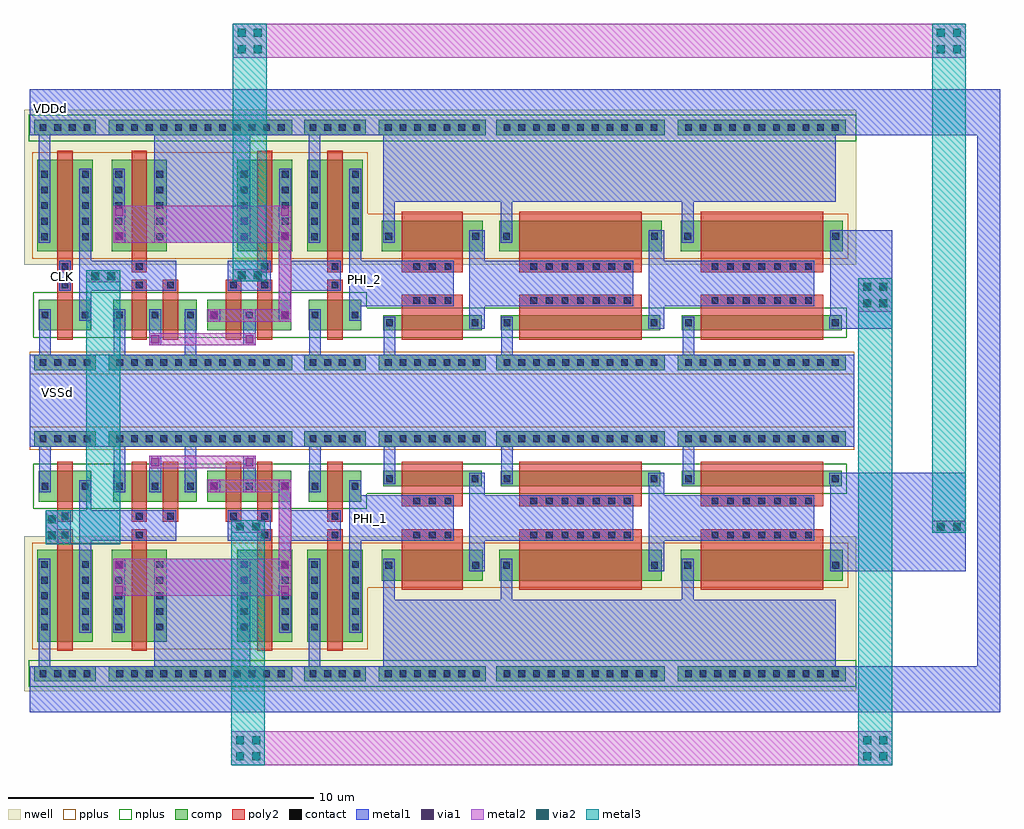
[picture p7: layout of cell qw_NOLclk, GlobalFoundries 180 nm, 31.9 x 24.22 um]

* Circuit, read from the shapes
.subckt qw_NOLclk CLK PHI_1 PHI_2 VDDd VSSd
XM1 n1 n2 VSSd VSSd nfet_03v3 w=1u l=0.5u
XM2 n2 CLK VSSd VSSd nfet_03v3 w=1u l=0.5u
XM3 n3 n1 VSSd VSSd nfet_03v3 w=1u l=0.5u m=2
XM4 n4 n2 VSSd VSSd nfet_03v3 w=1u l=0.5u m=2
XM5 n3 n5 n6 VSSd nfet_03v3 w=1u l=0.5u m=2
XM6 n4 n7 n8 VSSd nfet_03v3 w=1u l=0.5u m=2
XM7 PHI_1 n6 VSSd VSSd nfet_03v3 w=1u l=0.5u
XM8 PHI_2 n8 VSSd VSSd nfet_03v3 w=1u l=0.5u
XM9 n9 PHI_1 VSSd VSSd nfet_03v3 w=0.5u l=2u
XM10 n10 PHI_2 VSSd VSSd nfet_03v3 w=0.5u l=2u
XM11 n11 n9 VSSd VSSd nfet_03v3 w=0.5u l=4u
XM12 n12 n10 VSSd VSSd nfet_03v3 w=0.5u l=4u
XM13 n7 n11 VSSd VSSd nfet_03v3 w=0.5u l=4u
XM14 n5 n12 VSSd VSSd nfet_03v3 w=0.5u l=4u
XM15 n1 n2 VDDd VDDd pfet_03v3 w=3u l=0.5u
XM16 n2 CLK VDDd VDDd pfet_03v3 w=3u l=0.5u
XM17 VDDd n1 n6 VDDd pfet_03v3 w=3u l=0.5u
XM18 VDDd n2 n8 VDDd pfet_03v3 w=3u l=0.5u
XM19 n6 n5 VDDd VDDd pfet_03v3 w=3u l=0.5u
XM20 n8 n7 VDDd VDDd pfet_03v3 w=3u l=0.5u
XM21 PHI_1 n6 VDDd VDDd pfet_03v3 w=3u l=0.5u
XM22 PHI_2 n8 VDDd VDDd pfet_03v3 w=3u l=0.5u
XM23 n9 PHI_1 VDDd VDDd pfet_03v3 w=1u l=2u
XM24 n10 PHI_2 VDDd VDDd pfet_03v3 w=1u l=2u
XM25 n11 n9 VDDd VDDd pfet_03v3 w=1u l=4u
XM26 n12 n10 VDDd VDDd pfet_03v3 w=1u l=4u
XM27 n7 n11 VDDd VDDd pfet_03v3 w=1u l=4u
XM28 n5 n12 VDDd VDDd pfet_03v3 w=1u l=4u
.ends

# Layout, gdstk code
from math import pi, radians
import gdstk
lib = gdstk.Library(unit=1e-6, precision=1e-09)
def R(c, l, rs):  # rectangles x0, y0, x1, y1
    for r in rs: c.add(gdstk.rectangle(r[:2], r[2:], *l))
def A(c, l, x, y, w, h, nx, ny, dx, dy):  # array of equal rectangles
    R(c, l, [(x+i*dx, y+j*dy, x+i*dx+w, y+j*dy+h) for i in range(nx) for j in range(ny)])
nwell = (21, 0)
comp = (22, 0)
poly2 = (30, 0)
pplus = (31, 0)
nplus = (32, 0)
contact = (33, 0)
metal1 = (34, 0)
via1 = (35, 0)
metal2 = (36, 0)
via2 = (38, 0)
metal3 = (42, 0)

via_dev_619 = lib.new_cell('via_dev$619')
R(via_dev_619, metal1, [(0,0,0.4,0.4)])
R(via_dev_619, via1, [(0.07,0.07,0.33,0.33)])
R(via_dev_619, metal2, [(0,0,0.4,0.4)])

via_dev_620 = lib.new_cell('via_dev$620')
R(via_dev_620, comp, [(0,0,2,0.5)])
A(via_dev_620, contact, 0.17, 0.14, 0.22, 0.22, 4, 1, 0.48, 0)
R(via_dev_620, metal1, [(0,0,2,0.5)])

via_dev_621 = lib.new_cell('via_dev$621')
R(via_dev_621, comp, [(0,0,3.5,0.5)])
A(via_dev_621, contact, 0.2, 0.14, 0.22, 0.22, 7, 1, 0.48, 0)
R(via_dev_621, metal1, [(0,0,3.5,0.5)])

nfet_207 = lib.new_cell('nfet$207')
R(nfet_207, comp, [(-0.42,0,0,0.5), (0,0,2.38,0.5), (2.38,0,2.8,0.5)])
R(nfet_207, poly2, [(0.19,-0.3,2.19,0.8), (0.19,0.8,2.19,1.16)])
R(nfet_207, nplus, [(-0.59,-0.24,2.97,0.74)])
A(nfet_207, contact, 0.57, 0.87, 0.22, 0.22, 3, 1, 0.51, 0)
R(nfet_207, contact, [(-0.32,0.14,-0.1,0.36), (2.48,0.14,2.7,0.36)])
R(nfet_207, metal1, [(-0.4,0.06,-0.02,0.44), (2.4,0.06,2.78,0.44), (0.49,0.79,1.89,1.17)])

via_dev_622 = lib.new_cell('via_dev$622')
R(via_dev_622, metal1, [(0,0,1.1,0.4)])
R(via_dev_622, via1, [(0.155,0.07,0.415,0.33), (0.685,0.07,0.945,0.33)])
R(via_dev_622, metal2, [(0,0,1.1,0.4)])
R(via_dev_622, via2, [(0.155,0.07,0.415,0.33), (0.685,0.07,0.945,0.33)])
R(via_dev_622, metal3, [(0,0,1.1,0.4)])

pfet_192 = lib.new_cell('pfet$192')
R(pfet_192, nwell, [(-0.9,-0.44,3.28,1.44)])
R(pfet_192, comp, [(-0.46,0,0,1), (0,0,2.38,1), (2.38,0,2.84,1)])
R(pfet_192, poly2, [(0.19,-0.68,2.19,-0.3), (0.19,-0.3,2.19,1.3)])
R(pfet_192, pplus, [(-0.63,-0.24,3.01,1.24)])
A(pfet_192, contact, 0.57, -0.6, 0.22, 0.22, 3, 1, 0.51, 0)
R(pfet_192, contact, [(-0.34,0.39,-0.12,0.61), (2.5,0.39,2.72,0.61)])
R(pfet_192, metal1, [(0.49,-0.68,1.89,-0.3), (-0.42,0.31,-0.04,0.69), (2.42,0.31,2.8,0.69)])

pfet_193 = lib.new_cell('pfet$193')
R(pfet_193, nwell, [(-0.9,-0.44,5.28,1.44)])
R(pfet_193, comp, [(-0.46,0,0,1), (0,0,4.38,1), (4.38,0,4.84,1)])
R(pfet_193, poly2, [(0.19,-0.68,4.19,-0.3), (0.19,-0.3,4.19,1.3)])
R(pfet_193, pplus, [(-0.63,-0.24,5.01,1.24)])
A(pfet_193, contact, 0.55, -0.6, 0.22, 0.22, 7, 1, 0.51, 0)
R(pfet_193, contact, [(-0.34,0.39,-0.12,0.61), (4.5,0.39,4.72,0.61)])
R(pfet_193, metal1, [(0.47,-0.68,3.91,-0.3), (-0.42,0.31,-0.04,0.69), (4.42,0.31,4.8,0.69)])

nfet_208 = lib.new_cell('nfet$208')
R(nfet_208, comp, [(-0.42,0,0,0.5), (0,0,4.38,0.5), (4.38,0,4.8,0.5)])
R(nfet_208, poly2, [(0.19,-0.3,4.19,0.8), (0.19,0.8,4.19,1.16)])
R(nfet_208, nplus, [(-0.59,-0.24,4.97,0.74)])
A(nfet_208, contact, 0.55, 0.87, 0.22, 0.22, 7, 1, 0.51, 0)
R(nfet_208, contact, [(-0.32,0.14,-0.1,0.36), (4.48,0.14,4.7,0.36)])
R(nfet_208, metal1, [(-0.4,0.06,-0.02,0.44), (4.4,0.06,4.78,0.44), (0.47,0.79,3.91,1.17)])

via_dev_623 = lib.new_cell('via_dev$623')
R(via_dev_623, comp, [(0,0,5.5,0.5)])
A(via_dev_623, contact, 0.24, 0.14, 0.22, 0.22, 11, 1, 0.48, 0)
R(via_dev_623, metal1, [(0,0,5.5,0.5)])

nfet_209 = lib.new_cell('nfet$209')
R(nfet_209, comp, [(-0.42,0,0,1), (0,0,0.88,1), (0.88,0,1.3,1)])
R(nfet_209, poly2, [(0.19,-0.3,0.69,1.3), (0.19,1.3,0.69,1.66)])
R(nfet_209, nplus, [(-0.59,-0.24,1.47,1.24)])
R(nfet_209, contact, [(-0.32,0.39,-0.1,0.61), (0.98,0.39,1.2,0.61), (0.33,1.37,0.55,1.59)])
R(nfet_209, metal1, [(-0.4,0.31,-0.02,0.69), (0.9,0.31,1.28,0.69), (0.25,1.29,0.63,1.67)])

pfet_194 = lib.new_cell('pfet$194')
R(pfet_194, nwell, [(-0.9,-0.44,1.78,3.44)])
R(pfet_194, comp, [(-0.46,0,0,3), (0,0,0.88,3), (0.88,0,1.34,3)])
R(pfet_194, poly2, [(0.19,-0.68,0.69,-0.3), (0.19,-0.3,0.69,3.3)])
R(pfet_194, pplus, [(-0.63,-0.24,1.51,3.24)])
A(pfet_194, contact, -0.34, 0.37, 0.22, 0.22, 1, 5, 0, 0.51)
A(pfet_194, contact, 1, 0.37, 0.22, 0.22, 1, 5, 0, 0.51)
R(pfet_194, contact, [(0.33,-0.6,0.55,-0.38)])
R(pfet_194, metal1, [(0.25,-0.68,0.63,-0.3), (-0.42,0.29,-0.04,2.71), (0.92,0.29,1.3,2.71)])

via_dev_624 = lib.new_cell('via_dev$624')
R(via_dev_624, comp, [(0,0,6,0.5)])
A(via_dev_624, contact, 0.25, 0.14, 0.22, 0.22, 12, 1, 0.48, 0)
R(via_dev_624, metal1, [(0,0,6,0.5)])

pfet_195 = lib.new_cell('pfet$195')
R(pfet_195, nwell, [(-0.9,-0.44,1.78,3.44)])
R(pfet_195, comp, [(-0.46,0,0,3), (0,0,0.88,3), (0.88,0,1.34,3)])
R(pfet_195, poly2, [(0.19,-0.68,0.69,-0.3), (0.19,-0.3,0.69,3.3)])
R(pfet_195, pplus, [(-0.63,-0.24,1.51,3.24)])
A(pfet_195, contact, -0.34, 0.37, 0.22, 0.22, 1, 5, 0, 0.51)
A(pfet_195, contact, 1, 0.37, 0.22, 0.22, 1, 5, 0, 0.51)
R(pfet_195, contact, [(0.33,-0.6,0.55,-0.38)])
R(pfet_195, metal1, [(0.25,-0.68,0.63,-0.3), (-0.42,0.29,-0.04,2.71), (0.92,0.29,1.3,2.71)])

nfet_210 = lib.new_cell('nfet$210')
R(nfet_210, comp, [(-0.42,0,0,1), (0,0,1.9,1), (1.9,0,2.32,1)])
R(nfet_210, poly2, [(0.19,-0.3,0.69,1.3), (1.21,-0.3,1.71,1.3), (0.19,1.3,0.69,1.66), (1.21,1.3,1.71,1.66)])
R(nfet_210, nplus, [(-0.59,-0.24,2.49,1.24)])
A(nfet_210, contact, -0.32, 0.39, 0.22, 0.22, 3, 1, 1.16, 0)
R(nfet_210, contact, [(0.33,1.37,0.55,1.59), (1.35,1.37,1.57,1.59)])
A(nfet_210, metal1, -0.4, 0.31, 0.38, 0.38, 3, 1, 1.16, 0)
R(nfet_210, metal1, [(0.25,1.29,0.63,1.67), (1.27,1.29,1.65,1.67)])

via_dev_625 = lib.new_cell('via_dev$625')
R(via_dev_625, metal1, [(0,0,1.1,1.1)])
R(via_dev_625, via1, [(0.155,0.155,0.415,0.415), (0.685,0.155,0.945,0.415), (0.155,0.685,0.415,0.945), (0.685,0.685,0.945,0.945)])
R(via_dev_625, metal2, [(0,0,1.1,1.1)])
R(via_dev_625, via2, [(0.155,0.155,0.415,0.415), (0.685,0.155,0.945,0.415), (0.155,0.685,0.415,0.945), (0.685,0.685,0.945,0.945)])
R(via_dev_625, metal3, [(0,0,1.1,1.1)])

via_dev_626 = lib.new_cell('via_dev$626')
R(via_dev_626, metal2, [(0,0,1.1,1.1)])
R(via_dev_626, via2, [(0.155,0.155,0.415,0.415), (0.685,0.155,0.945,0.415), (0.155,0.685,0.415,0.945), (0.685,0.685,0.945,0.945)])
R(via_dev_626, metal3, [(0,0,1.1,1.1)])

qw_nolclk = lib.new_cell('qw_NOLclk')
R(qw_nolclk, nwell, [(55.095,-2.77,57.775,-1.585), (57.525,-2.77,64.305,-1.585), (63.92,-2.77,66.6,-1.585), (66.35,-2.77,70.585,-1.585), (70.195,-2.77,76.375,-1.585), (76.12,-2.77,82.3,-1.585), (60.205,-1.585,61.625,2.295), (66.35,-1.585,70.585,0.415), (70.195,-1.585,76.375,0.415), (76.12,-1.585,82.3,0.415), (60.205,11.17,61.625,15.05), (66.35,13.05,70.585,15.05), (70.195,13.05,76.375,15.05), (76.12,13.05,82.3,15.05), (55.095,15.05,57.775,16.235), (57.525,15.05,64.305,16.235), (63.92,15.05,66.6,16.235), (66.35,15.05,70.585,16.235), (70.195,15.05,76.375,16.235), (76.12,15.05,82.3,16.235)])
R(qw_nolclk, pplus, [(57.505,-1.385,57.795,2.095), (59.935,-1.385,61.895,2.095), (64.035,-1.385,64.19,2.095), (66.33,0.615,66.62,2.095), (70.26,0.615,70.465,2.095), (76.105,0.615,76.39,2.095), (55.285,5.125,57.72,5.875), (64.11,5.125,66.545,5.875), (66.54,5.125,70.385,5.875), (70.385,5.125,76.31,5.875), (76.31,5.125,82.235,5.875), (55.285,7.59,57.72,8.34), (64.11,7.59,66.545,8.34), (66.54,7.59,70.385,8.34), (70.385,7.59,76.31,8.34), (76.31,7.59,82.235,8.34), (57.505,11.37,57.795,14.85), (59.935,11.37,61.895,14.85), (64.035,11.37,64.19,14.85), (66.33,11.37,66.62,12.85), (70.26,11.37,70.465,12.85), (76.105,11.37,76.39,12.85)])
R(qw_nolclk, nplus, [(55.25,-2.61,57.635,-1.745), (57.635,-2.61,57.68,-1.745), (57.68,-2.61,64.15,-1.745), (64.075,-2.61,66.46,-1.745), (66.46,-2.61,66.505,-1.745), (66.505,-2.61,70.585,-1.745), (70.35,-2.61,76.375,-1.745), (76.275,-2.61,82.3,-1.745), (57.465,3.195,57.835,4.675), (63.995,3.195,64.23,4.675), (66.29,3.695,66.66,4.675), (70.22,3.695,70.505,4.675), (76.065,3.695,76.43,4.675), (57.465,8.79,57.835,10.27), (63.995,8.79,64.23,10.27), (66.29,8.79,66.66,9.77), (70.22,8.79,70.505,9.77), (76.065,8.79,76.43,9.77), (55.25,15.21,57.635,16.075), (57.635,15.21,57.68,16.075), (57.68,15.21,64.15,16.075), (64.075,15.21,66.46,16.075), (66.46,15.21,66.505,16.075), (66.505,15.21,70.585,16.075), (70.35,15.21,76.375,16.075), (76.275,15.21,82.3,16.075)])
R(qw_nolclk, metal1, [(55.285,-3.445,57.635,-1.945), (57.635,-3.445,57.715,-1.945), (57.715,-3.445,64.055,-1.945), (64.055,-3.445,64.11,-1.945), (64.11,-3.445,66.46,-1.945), (66.46,-3.445,66.505,-1.945), (66.505,-3.445,70.585,-1.945), (70.35,-3.445,76.375,-1.945), (76.275,-3.445,86.575,-1.945), (86.25,-3.445,86.995,16.91), (55.285,-2.445,55.435,-1.945), (55.575,-2.445,55.955,1.565), (57.715,-2.445,57.865,-1.945), (63.865,-2.445,64.055,-1.945), (64.11,-2.445,64.26,-1.945), (64.4,-2.445,64.78,1.565), (66.54,-2.445,66.69,-1.945), (66.83,-2.445,67.21,1.565), (70.385,-2.445,70.535,-1.945), (70.675,-2.445,71.055,1.565), (76.31,-2.445,76.46,-1.945), (76.6,-2.445,76.98,1.565), (59.345,-1.945,62.485,1.565), (67.21,-1.945,70.675,0.225), (71.055,-1.945,76.6,0.225), (76.98,-1.945,81.625,0.225), (56.895,-0.855,57.295,4.125), (65.72,-0.855,66.12,4.125), (69.65,1.165,70.15,4.375), (75.515,1.165,76.015,4.375), (81.44,1.165,85.875,4.375), (63.425,1.565,63.82,3.745), (55.805,2.045,56.625,3.145), (56.245,2.155,56.625,3.145), (56.895,2.155,60.075,3.145), (58.675,2.155,59.055,3.145), (61.755,2.155,62.775,2.765), (62.775,2.155,63.155,3.145), (63.425,2.155,65.45,3.145), (65.07,2.155,65.45,3.145), (65.72,2.155,69.14,3.645), (69.65,2.155,75.005,3.645), (75.515,2.155,80.93,3.645), (58.675,2.765,60.075,3.145), (61.755,2.765,63.155,3.145), (55.595,3.745,55.975,5.735), (58.025,3.745,58.405,5.735), (59.185,3.745,59.585,4.925), (60.345,3.745,60.725,5.735), (62.265,3.745,62.665,4.925), (64.42,3.745,64.8,5.735), (66.85,3.995,67.23,5.735), (70.695,3.995,71.075,5.735), (76.62,3.995,77,5.735), (55.285,5.235,57.715,6.735), (55.285,5.235,55.435,5.735), (57.715,5.235,64.11,6.735), (57.715,5.235,57.865,5.735), (63.865,5.235,64.11,5.735), (64.11,5.235,66.54,6.735), (64.11,5.235,64.26,5.735), (66.54,5.235,70.385,6.735), (66.54,5.235,66.69,5.735), (70.385,5.235,76.31,6.735), (70.385,5.235,70.535,5.735), (76.31,5.235,82.235,6.735), (76.31,5.235,76.46,5.735), (55.285,6.73,57.715,8.23), (57.715,6.73,64.11,8.23), (64.11,6.73,66.54,8.23), (66.54,6.73,70.385,8.23), (70.385,6.73,76.31,8.23), (76.31,6.73,82.235,8.23), (55.285,7.73,55.435,8.23), (55.595,7.73,55.975,9.72), (57.715,7.73,57.865,8.23), (58.025,7.73,58.405,9.72), (60.345,7.73,60.725,9.72), (63.865,7.73,64.11,8.23), (64.11,7.73,64.26,8.23), (64.42,7.73,64.8,9.72), (66.54,7.73,66.69,8.23), (66.85,7.73,67.23,9.47), (70.385,7.73,70.535,8.23), (70.695,7.73,71.075,9.47), (76.31,7.73,76.46,8.23), (76.62,7.73,77,9.47), (59.185,8.54,59.585,9.72), (62.265,8.54,62.665,9.72), (69.65,9.09,70.15,12.3), (75.515,9.09,76.015,12.3), (81.44,9.09,83.47,12.3), (56.895,9.34,57.295,14.32), (65.72,9.34,66.12,14.32), (63.425,9.72,63.82,11.9), (65.72,9.82,69.14,11.31), (69.65,9.82,75.005,11.31), (75.515,9.82,80.93,11.31), (56.245,10.32,56.625,11.31), (56.895,10.32,60.075,11.31), (58.675,10.32,59.055,11.31), (58.675,10.32,60.075,10.7), (61.755,10.32,63.155,10.7), (62.775,10.32,63.155,11.31), (63.425,10.32,65.45,11.31), (65.07,10.32,65.45,11.31), (61.755,10.7,62.775,11.31), (55.575,11.9,55.955,15.91), (59.345,11.9,62.485,15.41), (64.4,11.9,64.78,15.91), (66.83,11.9,67.21,15.91), (70.675,11.9,71.055,15.91), (76.6,11.9,76.98,15.91), (67.21,13.24,70.675,15.41), (71.055,13.24,76.6,15.41), (76.98,13.24,81.625,15.41), (55.285,15.41,55.435,15.91), (55.285,15.41,57.635,16.91), (57.635,15.41,57.715,16.91), (57.715,15.41,57.865,15.91), (57.715,15.41,64.055,16.91), (63.865,15.41,64.055,15.91), (64.055,15.41,64.11,16.91), (64.11,15.41,64.26,15.91), (64.11,15.41,66.46,16.91), (66.46,15.41,66.505,16.91), (66.505,15.41,70.585,16.91), (66.54,15.41,66.69,15.91), (70.35,15.41,76.375,16.91), (70.385,15.41,70.535,15.91), (76.275,15.41,86.575,16.91), (76.31,15.41,76.46,15.91)])
R(qw_nolclk, metal2, [(61.87,-5.175,83.47,-4.075), (58.005,0.355,58.405,1.565), (58.005,0.355,63.825,1.565), (63.425,0.355,63.825,4.145), (61.105,3.745,63.825,4.145), (59.185,4.525,62.665,4.925), (59.185,8.54,62.665,8.94), (61.105,9.32,63.825,9.72), (63.425,9.32,63.825,13.11), (58.005,11.9,58.405,13.11), (58.005,11.9,63.825,13.11), (61.925,17.94,85.875,19.045)])
R(qw_nolclk, metal3, [(61.87,-5.175,62.97,2.82), (82.37,-5.175,83.47,10.735), (55.805,2.045,58.235,3.145), (57.135,2.045,58.235,11), (84.775,2.41,85.875,19.045), (61.925,10.635,63.025,19.045)])
qw_nolclk.add(gdstk.FlexPath([(57.715,7.965),(64.11,7.965)], 0.75, ends="flush", simple_path=True, layer=31, datatype=0))  # pplus
qw_nolclk.add(gdstk.FlexPath([(57.715,5.5),(64.11,5.5)], 0.75, ends="flush", simple_path=True, layer=31, datatype=0))  # pplus
qw_nolclk.add(gdstk.Reference(via_dev_619, (58.005,12.71)))
qw_nolclk.add(gdstk.Reference(via_dev_620, (64.26,15.41)))
qw_nolclk.add(gdstk.Reference(via_dev_621, (66.69,15.41)))
qw_nolclk.add(gdstk.Reference(via_dev_620, (55.435,-1.945), x_reflection=True))
qw_nolclk.add(gdstk.Reference(via_dev_621, (66.69,7.73)))
qw_nolclk.add(gdstk.Reference(nfet_207, (67.25,9.03)))
qw_nolclk.add(gdstk.Reference(via_dev_622, (55.805,2.045), rotation=pi/2, x_reflection=True))
qw_nolclk.add(gdstk.Reference(pfet_192, (67.25,11.61)))
qw_nolclk.add(gdstk.Reference(pfet_193, (71.095,11.61)))
qw_nolclk.add(gdstk.Reference(via_dev_622, (58.235,10.6), rotation=pi, x_reflection=True))
qw_nolclk.add(gdstk.Reference(nfet_208, (71.095,9.03)))
qw_nolclk.add(gdstk.Reference(via_dev_623, (70.535,7.73)))
qw_nolclk.add(gdstk.Reference(via_dev_623, (70.535,15.41)))
qw_nolclk.add(gdstk.Reference(pfet_193, (77.02,11.61)))
qw_nolclk.add(gdstk.Reference(nfet_208, (77.02,9.03)))
qw_nolclk.add(gdstk.Reference(via_dev_623, (76.46,7.73)))
qw_nolclk.add(gdstk.Reference(via_dev_623, (76.46,15.41)))
qw_nolclk.add(gdstk.Reference(via_dev_619, (58.005,0.755), x_reflection=True))
qw_nolclk.add(gdstk.Reference(via_dev_620, (64.26,-1.945), x_reflection=True))
qw_nolclk.add(gdstk.Reference(via_dev_621, (66.69,-1.945), x_reflection=True))
qw_nolclk.add(gdstk.Reference(via_dev_621, (66.69,5.735), x_reflection=True))
qw_nolclk.add(gdstk.Reference(nfet_207, (67.25,4.435), x_reflection=True))
qw_nolclk.add(gdstk.Reference(pfet_192, (67.25,1.855), x_reflection=True))
qw_nolclk.add(gdstk.Reference(pfet_193, (71.095,1.855), x_reflection=True))
qw_nolclk.add(gdstk.Reference(nfet_208, (71.095,4.435), x_reflection=True))
qw_nolclk.add(gdstk.Reference(via_dev_623, (70.535,5.735), x_reflection=True))
qw_nolclk.add(gdstk.Reference(via_dev_623, (70.535,-1.945), x_reflection=True))
qw_nolclk.add(gdstk.Reference(pfet_193, (77.02,1.855), x_reflection=True))
qw_nolclk.add(gdstk.Reference(nfet_208, (77.02,4.435), x_reflection=True))
qw_nolclk.add(gdstk.Reference(via_dev_623, (76.46,5.735), x_reflection=True))
qw_nolclk.add(gdstk.Reference(via_dev_623, (76.46,-1.945), x_reflection=True))
qw_nolclk.add(gdstk.Reference(via_dev_620, (55.435,15.41)))
qw_nolclk.add(gdstk.Reference(via_dev_620, (55.435,7.73)))
qw_nolclk.add(gdstk.Reference(nfet_209, (55.995,9.03)))
qw_nolclk.add(gdstk.Reference(pfet_194, (55.995,11.61)))
qw_nolclk.add(gdstk.Reference(via_dev_619, (58.005,11.9)))
qw_nolclk.add(gdstk.Reference(via_dev_619, (62.265,8.54)))
qw_nolclk.add(gdstk.Reference(via_dev_619, (63.425,12.71)))
qw_nolclk.add(gdstk.Reference(via_dev_619, (63.425,11.9)))
qw_nolclk.add(gdstk.Reference(via_dev_624, (57.865,15.41)))
qw_nolclk.add(gdstk.Reference(via_dev_624, (57.865,7.73)))
qw_nolclk.add(gdstk.Reference(pfet_195, (62.525,11.61)))
qw_nolclk.add(gdstk.Reference(via_dev_619, (63.425,9.32)))
qw_nolclk.add(gdstk.Reference(via_dev_619, (61.105,9.32)))
qw_nolclk.add(gdstk.Reference(via_dev_619, (59.185,8.54)))
qw_nolclk.add(gdstk.Reference(nfet_210, (58.425,9.03)))
qw_nolclk.add(gdstk.Reference(nfet_210, (61.505,9.03)))
qw_nolclk.add(gdstk.Reference(pfet_195, (58.425,11.61)))
qw_nolclk.add(gdstk.Reference(via_dev_620, (64.26,7.73)))
qw_nolclk.add(gdstk.Reference(nfet_209, (64.82,9.03)))
qw_nolclk.add(gdstk.Reference(pfet_194, (64.82,11.61)))
qw_nolclk.add(gdstk.Reference(via_dev_620, (55.435,5.735), x_reflection=True))
qw_nolclk.add(gdstk.Reference(nfet_209, (55.995,4.435), x_reflection=True))
qw_nolclk.add(gdstk.Reference(pfet_194, (55.995,1.855), x_reflection=True))
qw_nolclk.add(gdstk.Reference(via_dev_619, (58.005,1.565), x_reflection=True))
qw_nolclk.add(gdstk.Reference(via_dev_619, (62.265,4.925), x_reflection=True))
qw_nolclk.add(gdstk.Reference(via_dev_619, (63.425,0.755), x_reflection=True))
qw_nolclk.add(gdstk.Reference(via_dev_619, (63.425,1.565), x_reflection=True))
qw_nolclk.add(gdstk.Reference(via_dev_624, (57.865,-1.945), x_reflection=True))
qw_nolclk.add(gdstk.Reference(via_dev_624, (57.865,5.735), x_reflection=True))
qw_nolclk.add(gdstk.Reference(pfet_195, (62.525,1.855), x_reflection=True))
qw_nolclk.add(gdstk.Reference(via_dev_619, (63.425,4.145), x_reflection=True))
qw_nolclk.add(gdstk.Reference(via_dev_619, (61.105,4.145), x_reflection=True))
qw_nolclk.add(gdstk.Reference(via_dev_619, (59.185,4.925), x_reflection=True))
qw_nolclk.add(gdstk.Reference(nfet_210, (58.425,4.435), x_reflection=True))
qw_nolclk.add(gdstk.Reference(nfet_210, (61.505,4.435), x_reflection=True))
qw_nolclk.add(gdstk.Reference(pfet_195, (58.425,1.855), x_reflection=True))
qw_nolclk.add(gdstk.Reference(via_dev_620, (64.26,5.735), x_reflection=True))
qw_nolclk.add(gdstk.Reference(nfet_209, (64.82,4.435), x_reflection=True))
qw_nolclk.add(gdstk.Reference(pfet_194, (64.82,1.855), x_reflection=True))
qw_nolclk.add(gdstk.Reference(via_dev_622, (61.87,2.82), x_reflection=True))
qw_nolclk.add(gdstk.Reference(via_dev_625, (82.37,10.735), x_reflection=True))
qw_nolclk.add(gdstk.Reference(via_dev_622, (84.775,2.81), x_reflection=True))
qw_nolclk.add(gdstk.Reference(via_dev_626, (82.37,-4.075), x_reflection=True))
qw_nolclk.add(gdstk.Reference(via_dev_626, (61.87,-4.075), x_reflection=True))
qw_nolclk.add(gdstk.Reference(via_dev_626, (84.775,19.04), x_reflection=True))
qw_nolclk.add(gdstk.Reference(via_dev_622, (61.925,11.035), x_reflection=True))
qw_nolclk.add(gdstk.Reference(via_dev_626, (61.925,19.04), x_reflection=True))
qw_nolclk.add(gdstk.Label('CLK', (56.365,10.805), layer=34, texttype=10))
qw_nolclk.add(gdstk.Label('VDDd', (55.945,16.295), layer=34, texttype=10))
qw_nolclk.add(gdstk.Label('VSSd', (56.18,7), layer=34, texttype=10))
qw_nolclk.add(gdstk.Label('PHI_2', (66.24,10.685), layer=34, texttype=10))
qw_nolclk.add(gdstk.Label('PHI_1', (66.41,2.87), layer=34, texttype=10))

lib.write_gds('qw_NOLclk.gds')
